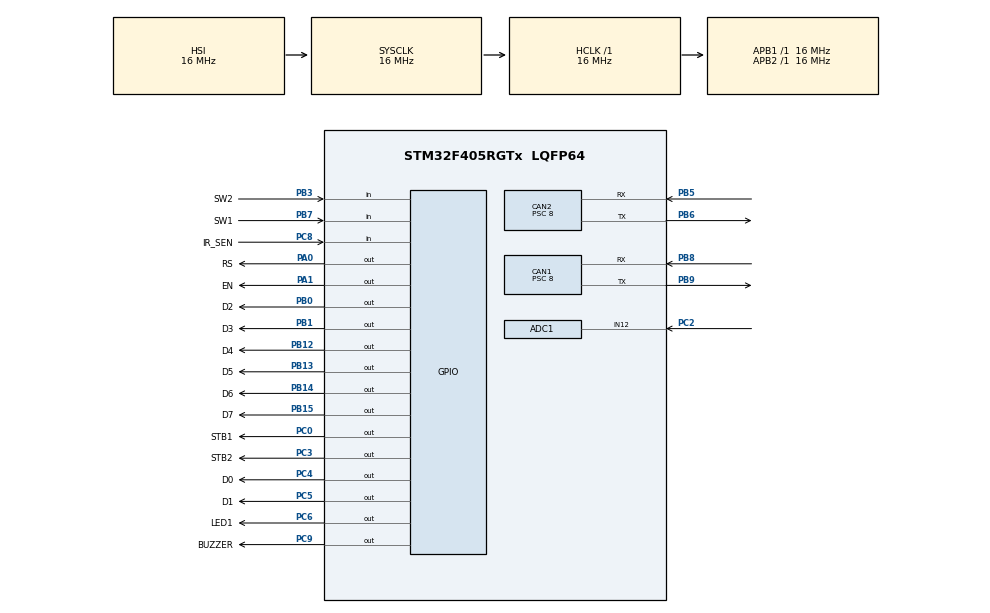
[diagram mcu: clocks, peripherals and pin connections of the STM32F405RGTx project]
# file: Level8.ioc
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ADC1.Channel-0\#ChannelRegularConversion=ADC_CHANNEL_12
ADC1.NbrOfConversionFlag=1
ADC1.Rank-0\#ChannelRegularConversion=1
ADC1.SamplingTime-0\#ChannelRegularConversion=ADC_SAMPLETIME_3CYCLES
ADC1.master=1
CAN1.BS1=CAN_BS1_9TQ
CAN1.BS2=CAN_BS2_2TQ
CAN1.CalculateBaudRate=166666
CAN1.CalculateTimeBit=6000
CAN1.CalculateTimeQuantum=500.0
CAN1.Prescaler=8
CAN2.BS1=CAN_BS1_9TQ
CAN2.BS2=CAN_BS2_2TQ
CAN2.CalculateBaudRate=166666
CAN2.CalculateTimeBit=6000
CAN2.CalculateTimeQuantum=500.0
CAN2.Prescaler=8
Mcu.Family=STM32F4
Mcu.Name=STM32F405RGTx
Mcu.Package=LQFP64
NVIC.PriorityGroup=NVIC_PRIORITYGROUP_4
PA0-WKUP.GPIO_Label=RS
PA0-WKUP.Signal=GPIO_Output
PA1.GPIO_Label=EN
PA1.Signal=GPIO_Output
PA13.Mode=Serial_Wire
PA13.Signal=SYS_JTMS-SWDIO
PA14.Mode=Serial_Wire
PA14.Signal=SYS_JTCK-SWCLK
PB0.GPIO_Label=D2
PB0.Signal=GPIO_Output
PB1.GPIO_Label=D3
PB1.Signal=GPIO_Output
PB12.GPIO_Label=D4
PB12.Signal=GPIO_Output
PB13.GPIO_Label=D5
PB13.Signal=GPIO_Output
PB14.GPIO_Label=D6
PB14.Signal=GPIO_Output
PB15.GPIO_Label=D7
PB15.Signal=GPIO_Output
PB3.GPIO_Label=SW2
PB3.Signal=GPIO_Input
PB5.Mode=CAN_Activate
PB5.Signal=CAN2_RX
PB6.Mode=CAN_Activate
PB6.Signal=CAN2_TX
PB7.GPIO_Label=SW1
PB7.Signal=GPIO_Input
PB8.Mode=CAN_Activate
PB8.Signal=CAN1_RX
PB9.Mode=CAN_Activate
PB9.Signal=CAN1_TX
PC0.GPIO_Label=STB1
PC0.Signal=GPIO_Output
PC14-OSC32_IN.Mode=LSE-External-Oscillator
PC14-OSC32_IN.Signal=RCC_OSC32_IN
PC15-OSC32_OUT.Mode=LSE-External-Oscillator
PC15-OSC32_OUT.Signal=RCC_OSC32_OUT
PC2.Signal=ADCx_IN12
PC3.GPIO_Label=STB2
PC3.Signal=GPIO_Output
PC4.GPIO_Label=D0
PC4.Signal=GPIO_Output
PC5.GPIO_Label=D1
PC5.Signal=GPIO_Output
PC6.GPIO_Label=LED1
PC6.Signal=GPIO_Output
PC8.GPIO_Label=IR_SEN
PC8.Signal=GPIO_Input
PC9.GPIO_Label=BUZZER
PC9.Signal=GPIO_Output
PH0-OSC_IN.Mode=HSE-External-Oscillator
PH0-OSC_IN.Signal=RCC_OSC_IN
PH1-OSC_OUT.Mode=HSE-External-Oscillator
PH1-OSC_OUT.Signal=RCC_OSC_OUT
ProjectManager.HeapSize=0x200
ProjectManager.StackSize=0x400
ProjectManager.TargetToolchain=STM32CubeIDE
RCC.48MHZClocksFreq_Value=48000000
RCC.AHBFreq_Value=16000000
RCC.APB1Freq_Value=16000000
RCC.APB2Freq_Value=16000000
RCC.CortexFreq_Value=16000000
RCC.HSE_VALUE=25000000
RCC.HSI_VALUE=16000000
RCC.SYSCLKFreq_VALUE=16000000
RCC.VCOOutputFreq_Value=192000000
SH.ADCx_IN12.0=ADC1_IN12,IN12
VP_TIM6_VS_ClockSourceINT.Mode=Enable_Timer
board=custom

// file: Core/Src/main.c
/* USER CODE BEGIN Header */
/**
  ******************************************************************************
  * @file           : main.c
  * @brief          : Main program body
  ******************************************************************************
  * @attention
  *
  * Copyright (c) 2024 STMicroelectronics.
  * All rights reserved.
  *
  * This software is licensed under terms that can be found in the LICENSE file
  * in the root directory of this software component.
  * If no LICENSE file comes with this software, it is provided AS-IS.
  *
  ******************************************************************************
  */
/* USER CODE END Header */
#include "main.h"

ADC_HandleTypeDef hadc1;

CAN_HandleTypeDef hcan1;
CAN_HandleTypeDef hcan2;

TIM_HandleTypeDef htim6;

/* USER CODE BEGIN PV */
CAN_TxHeaderTypeDef  p1header;
CAN_RxHeaderTypeDef  p2header;
uint32_t pTxMailbox = CAN_TX_MAILBOX0, RxFifo = CAN_RX_FIFO0;
CAN_FilterTypeDef  sFilterConfig;
uint8_t aData[8], received_data[8];
uint8_t speed = 0, count = 0, engine_status = 0, collision = 1, airbag_status = 0, seatbelt_status = 0;
uint8_t can_data, Can_id;
uint8_t SW1, SW2;
int Timercount = 0, Flag100msec = 0, Flag300msec = 0, Flag100msec1 = 0;
/* USER CODE END PV */

void SystemClock_Config(void);
static void MX_GPIO_Init(void);
static void MX_CAN1_Init(void);
static void MX_CAN2_Init(void);
static void MX_ADC1_Init(void);
static void MX_TIM6_Init(void);
/* USER CODE BEGIN PFP */
void lcd_init();
void cmd(unsigned char C);
void data(unsigned char D);
void display(unsigned char *ptr);
void numeric(unsigned char Value);
static void adc_scan();
void engine();
void seat_belt();
void airbag();
/* USER CODE END PFP */

int main(void)
{

  /* MCU Configuration--------------------------------------------------------*/

  /* Reset of all peripherals, Initializes the Flash interface and the Systick. */
  HAL_Init();

  /* Configure the system clock */
  SystemClock_Config();

  /* Initialize all configured peripherals */
  MX_GPIO_Init();
  MX_CAN1_Init();
  MX_CAN2_Init();
  MX_ADC1_Init();
  MX_TIM6_Init();

  /* Infinite loop */
  /* USER CODE BEGIN WHILE */
	lcd_init();
	HAL_Delay(200);

	// Set Output pin STB1, STB2 as LOW
	HAL_GPIO_WritePin(GPIOC, STB1_Pin, GPIO_PIN_RESET);
	HAL_GPIO_WritePin(GPIOC, STB2_Pin, GPIO_PIN_RESET);

	// CAN Tx message header configuration
	p1header.DLC = 8;
	p1header.IDE = CAN_ID_STD;
	p1header.StdId = 0x001;
	p1header.RTR = CAN_RTR_DATA;

	// CAN Filter configuration
	sFilterConfig.FilterFIFOAssignment = CAN_FILTER_FIFO0;
	sFilterConfig.FilterIdHigh = 0x00C;
	sFilterConfig.FilterIdLow = 0x00A;
	sFilterConfig.FilterMaskIdHigh = 0;
	sFilterConfig.FilterMaskIdLow = 0;
	sFilterConfig.FilterScale = CAN_FILTERSCALE_32BIT;
	sFilterConfig.FilterActivation = ENABLE;
	HAL_CAN_ConfigFilter(&hcan1, &sFilterConfig);
	HAL_CAN_ConfigFilter(&hcan2, &sFilterConfig);

	// Start CAN transmission
	HAL_CAN_Start(&hcan1);
	HAL_CAN_Start(&hcan2);
  while (1)
  {
	// System initialization
	engine();
	adc_scan();
	seat_belt();
	airbag();

	// Configure data base on engine status
	if(engine_status == 1)
	{
		aData[0] = engine_status;
		aData[1] = seatbelt_status;
		aData[2] = speed;
		aData[3] = airbag_status;
		aData[4] = 0;
		aData[5] = 0;
		aData[6] = 0;
		aData[7] = 0;
	}
	else
	{
		aData[0] = engine_status;
		aData[1] = seatbelt_status;
		aData[2] = 00;
		aData[3] = airbag_status;
		aData[4] = 0;
		aData[5] = 0;
		aData[6] = 0;
		aData[7] = 0;
	}

	// CAN1 send message and CAN2 receive
	HAL_CAN_AddTxMessage(&hcan1, &p1header, aData, &pTxMailbox);
	HAL_CAN_GetRxMessage(&hcan2, CAN_RX_FIFO0, &p2header, received_data);
	Can_id = p1header.StdId;

	// LCD display Seat belt status
	if(received_data[1] == 1)
	{
	  cmd(0x88);
	  display("SB YES");
	}
	else if(received_data[1]==0)
	{
	  cmd(0x88);
	  display("SB NO");
	}

	// LCD display engine status, airbag status and speed
	if((received_data[0] == 1))
	{
	  cmd(0x80);
	  display("ENG ON");
	  cmd(0xc0);
	  display("SPEED");
	  cmd(0xc6);
	  numeric(received_data[2]);
	  cmd(0xCA);
	  display("AB");
	  cmd(0xCD);
	  numeric(received_data[3]);

	  // Activate buzzer when collision happen
	  if ((received_data[3] == 2) && (received_data[0] == 1) && (received_data[1] == 1) && (received_data[2] >= 60))
	  {
		  HAL_GPIO_WritePin(GPIOC, BUZZER_Pin, GPIO_PIN_SET);
	  }
	  else if((received_data[3] == 1) || (received_data[3] == 0) && (received_data[0] == 1) && (received_data[1] == 1) && (received_data[2] >= 60))
	  {
		  HAL_GPIO_WritePin(GPIOC, BUZZER_Pin, GPIO_PIN_RESET);
	  }
	}
	else if((received_data[0] == 0))
	{
	  cmd(0x80);
	  display("ENG OFF");
	  cmd(0xc0);
	  display("SPEED");
	  cmd(0xc6);
	  numeric(received_data[2]);
	  cmd(0xCA);
	  display("AB");
	  cmd(0xCD);
	  numeric(received_data[3]);
	}
    /* USER CODE END WHILE */

  }
}

void SystemClock_Config(void)
{
  RCC_OscInitTypeDef RCC_OscInitStruct = {0};
  RCC_ClkInitTypeDef RCC_ClkInitStruct = {0};

  /** Configure the main internal regulator output voltage
  */
  __HAL_RCC_PWR_CLK_ENABLE();
  __HAL_PWR_VOLTAGESCALING_CONFIG(PWR_REGULATOR_VOLTAGE_SCALE1);

  /** Initializes the RCC Oscillators according to the specified parameters
  * in the RCC_OscInitTypeDef structure.
  */
  RCC_OscInitStruct.OscillatorType = RCC_OSCILLATORTYPE_HSI;
  RCC_OscInitStruct.HSIState = RCC_HSI_ON;
  RCC_OscInitStruct.HSICalibrationValue = RCC_HSICALIBRATION_DEFAULT;
  RCC_OscInitStruct.PLL.PLLState = RCC_PLL_NONE;
  if (HAL_RCC_OscConfig(&RCC_OscInitStruct) != HAL_OK)
  {
    Error_Handler();
  }

  /** Initializes the CPU, AHB and APB buses clocks
  */
  RCC_ClkInitStruct.ClockType = RCC_CLOCKTYPE_HCLK|RCC_CLOCKTYPE_SYSCLK
                              |RCC_CLOCKTYPE_PCLK1|RCC_CLOCKTYPE_PCLK2;
  RCC_ClkInitStruct.SYSCLKSource = RCC_SYSCLKSOURCE_HSI;
  RCC_ClkInitStruct.AHBCLKDivider = RCC_SYSCLK_DIV1;
  RCC_ClkInitStruct.APB1CLKDivider = RCC_HCLK_DIV1;
  RCC_ClkInitStruct.APB2CLKDivider = RCC_HCLK_DIV1;

  if (HAL_RCC_ClockConfig(&RCC_ClkInitStruct, FLASH_LATENCY_0) != HAL_OK)
  {
    Error_Handler();
  }
}

static void MX_ADC1_Init(void)
{

  ADC_ChannelConfTypeDef sConfig = {0};

  /** Configure the global features of the ADC (Clock, Resolution, Data Alignment and number of conversion)
  */
  hadc1.Instance = ADC1;
  hadc1.Init.ClockPrescaler = ADC_CLOCK_SYNC_PCLK_DIV2;
  hadc1.Init.Resolution = ADC_RESOLUTION_12B;
  hadc1.Init.ScanConvMode = DISABLE;
  hadc1.Init.ContinuousConvMode = DISABLE;
  hadc1.Init.DiscontinuousConvMode = DISABLE;
  hadc1.Init.ExternalTrigConvEdge = ADC_EXTERNALTRIGCONVEDGE_NONE;
  hadc1.Init.ExternalTrigConv = ADC_SOFTWARE_START;
  hadc1.Init.DataAlign = ADC_DATAALIGN_RIGHT;
  hadc1.Init.NbrOfConversion = 1;
  hadc1.Init.DMAContinuousRequests = DISABLE;
  hadc1.Init.EOCSelection = ADC_EOC_SINGLE_CONV;
  if (HAL_ADC_Init(&hadc1) != HAL_OK)
  {
    Error_Handler();
  }

  /** Configure for the selected ADC regular channel its corresponding rank in the sequencer and its sample time.
  */
  sConfig.Channel = ADC_CHANNEL_12;
  sConfig.Rank = 1;
  sConfig.SamplingTime = ADC_SAMPLETIME_3CYCLES;
  if (HAL_ADC_ConfigChannel(&hadc1, &sConfig) != HAL_OK)
  {
    Error_Handler();
  }

}

static void MX_CAN1_Init(void)
{

  hcan1.Instance = CAN1;
  hcan1.Init.Prescaler = 8;
  hcan1.Init.Mode = CAN_MODE_NORMAL;
  hcan1.Init.SyncJumpWidth = CAN_SJW_1TQ;
  hcan1.Init.TimeSeg1 = CAN_BS1_9TQ;
  hcan1.Init.TimeSeg2 = CAN_BS2_2TQ;
  hcan1.Init.TimeTriggeredMode = DISABLE;
  hcan1.Init.AutoBusOff = DISABLE;
  hcan1.Init.AutoWakeUp = DISABLE;
  hcan1.Init.AutoRetransmission = DISABLE;
  hcan1.Init.ReceiveFifoLocked = DISABLE;
  hcan1.Init.TransmitFifoPriority = DISABLE;
  if (HAL_CAN_Init(&hcan1) != HAL_OK)
  {
    Error_Handler();
  }

}

static void MX_CAN2_Init(void)
{

  hcan2.Instance = CAN2;
  hcan2.Init.Prescaler = 8;
  hcan2.Init.Mode = CAN_MODE_NORMAL;
  hcan2.Init.SyncJumpWidth = CAN_SJW_1TQ;
  hcan2.Init.TimeSeg1 = CAN_BS1_9TQ;
  hcan2.Init.TimeSeg2 = CAN_BS2_2TQ;
  hcan2.Init.TimeTriggeredMode = DISABLE;
  hcan2.Init.AutoBusOff = DISABLE;
  hcan2.Init.AutoWakeUp = DISABLE;
  hcan2.Init.AutoRetransmission = DISABLE;
  hcan2.Init.ReceiveFifoLocked = DISABLE;
  hcan2.Init.TransmitFifoPriority = DISABLE;
  if (HAL_CAN_Init(&hcan2) != HAL_OK)
  {
    Error_Handler();
  }

}

static void MX_TIM6_Init(void)
{

  TIM_MasterConfigTypeDef sMasterConfig = {0};

  htim6.Instance = TIM6;
  htim6.Init.Prescaler = 0;
  htim6.Init.CounterMode = TIM_COUNTERMODE_UP;
  htim6.Init.Period = 65535;
  htim6.Init.AutoReloadPreload = TIM_AUTORELOAD_PRELOAD_DISABLE;
  if (HAL_TIM_Base_Init(&htim6) != HAL_OK)
  {
    Error_Handler();
  }
  sMasterConfig.MasterOutputTrigger = TIM_TRGO_RESET;
  sMasterConfig.MasterSlaveMode = TIM_MASTERSLAVEMODE_DISABLE;
  if (HAL_TIMEx_MasterConfigSynchronization(&htim6, &sMasterConfig) != HAL_OK)
  {
    Error_Handler();
  }

}

static void MX_GPIO_Init(void)
{
  GPIO_InitTypeDef GPIO_InitStruct = {0};

  /* GPIO Ports Clock Enable */
  __HAL_RCC_GPIOC_CLK_ENABLE();
  __HAL_RCC_GPIOH_CLK_ENABLE();
  __HAL_RCC_GPIOA_CLK_ENABLE();
  __HAL_RCC_GPIOB_CLK_ENABLE();

  /*Configure GPIO pin Output Level */
  HAL_GPIO_WritePin(GPIOC, STB1_Pin|STB2_Pin|D0_Pin|D1_Pin
                          |LED1_Pin|BUZZER_Pin, GPIO_PIN_RESET);

  /*Configure GPIO pin Output Level */
  HAL_GPIO_WritePin(GPIOA, RS_Pin|EN_Pin, GPIO_PIN_RESET);

  /*Configure GPIO pin Output Level */
  HAL_GPIO_WritePin(GPIOB, D2_Pin|D3_Pin|D4_Pin|D5_Pin
                          |D6_Pin|D7_Pin, GPIO_PIN_RESET);

  /*Configure GPIO pins : STB1_Pin STB2_Pin D0_Pin D1_Pin
                           LED1_Pin BUZZER_Pin */
  GPIO_InitStruct.Pin = STB1_Pin|STB2_Pin|D0_Pin|D1_Pin
                          |LED1_Pin|BUZZER_Pin;
  GPIO_InitStruct.Mode = GPIO_MODE_OUTPUT_PP;
  GPIO_InitStruct.Pull = GPIO_NOPULL;
  GPIO_InitStruct.Speed = GPIO_SPEED_FREQ_LOW;
  HAL_GPIO_Init(GPIOC, &GPIO_InitStruct);

  /*Configure GPIO pins : RS_Pin EN_Pin */
  GPIO_InitStruct.Pin = RS_Pin|EN_Pin;
  GPIO_InitStruct.Mode = GPIO_MODE_OUTPUT_PP;
  GPIO_InitStruct.Pull = GPIO_NOPULL;
  GPIO_InitStruct.Speed = GPIO_SPEED_FREQ_LOW;
  HAL_GPIO_Init(GPIOA, &GPIO_InitStruct);

  /*Configure GPIO pins : D2_Pin D3_Pin D4_Pin D5_Pin
                           D6_Pin D7_Pin */
  GPIO_InitStruct.Pin = D2_Pin|D3_Pin|D4_Pin|D5_Pin
                          |D6_Pin|D7_Pin;
  GPIO_InitStruct.Mode = GPIO_MODE_OUTPUT_PP;
  GPIO_InitStruct.Pull = GPIO_NOPULL;
  GPIO_InitStruct.Speed = GPIO_SPEED_FREQ_LOW;
  HAL_GPIO_Init(GPIOB, &GPIO_InitStruct);

  /*Configure GPIO pin : IR_SEN_Pin */
  GPIO_InitStruct.Pin = IR_SEN_Pin;
  GPIO_InitStruct.Mode = GPIO_MODE_INPUT;
  GPIO_InitStruct.Pull = GPIO_NOPULL;
  HAL_GPIO_Init(IR_SEN_GPIO_Port, &GPIO_InitStruct);

  /*Configure GPIO pins : SW2_Pin SW1_Pin */
  GPIO_InitStruct.Pin = SW2_Pin|SW1_Pin;
  GPIO_InitStruct.Mode = GPIO_MODE_INPUT;
  GPIO_InitStruct.Pull = GPIO_NOPULL;
  HAL_GPIO_Init(GPIOB, &GPIO_InitStruct);

}

/* USER CODE BEGIN 4 */
void HAL_TIM_PeriodElapsedCallback(TIM_HandleTypeDef *htim)
{
	if(htim == &htim6)
	{
		Flag100msec = 1; // 100msec
		Flag100msec1 = 1;
		if(++Timercount > 2) //300sec
		{
			Timercount = 0;
			Flag300msec = 1;
		}
	}
}
//************************************************************************
static void adc_scan()
{
	if(!Flag100msec)
	{
		return;
	}
	Flag100msec = 0;

	HAL_ADC_Start(&hadc1);
	HAL_ADC_PollForConversion(&hadc1, 100);
	count = HAL_ADC_GetValue(&hadc1);
	speed = ((100*count)/4095);
	HAL_ADC_Stop(&hadc1);
}
//*******************************************************************
void engine()
{
	SW1 = HAL_GPIO_ReadPin(GPIOB,SW1_Pin);

	if ((!SW1 )&& (engine_status == 0))
	{
		engine_status = 1;
		HAL_GPIO_WritePin(GPIOC, LED1_Pin, GPIO_PIN_RESET);

	}
	else if ((!SW1) && (engine_status == 1))
	{
		engine_status = 0;
		HAL_GPIO_WritePin(GPIOC, LED1_Pin, GPIO_PIN_SET);
	}
}
//*************************************************************************
void seat_belt()
{
	SW2 = HAL_GPIO_ReadPin(GPIOB, SW2_Pin);
	if ((!SW2) && (seatbelt_status == 0))
	{
		seatbelt_status = 1;
	}
	else if ((!SW2) && (seatbelt_status == 1))
	{
		seatbelt_status = 0;
	}
}
//***************************************************************
void airbag()
{
	if(!Flag100msec1)
		{
			return;
		}
		Flag100msec1 = 0;
		collision = (HAL_GPIO_ReadPin(GPIOC, IR_SEN_Pin));

		if((collision == 1) && (seatbelt_status == 0) && (engine_status == 0))
		{
			airbag_status = 0;
		}
		else if((collision == 1) && (seatbelt_status == 1) && (engine_status == 1))
		{
			airbag_status = 1;
		}
		else if((collision == 0) && (seatbelt_status == 1) && (engine_status == 1) && (speed >= 60))
		{
			airbag_status = 2;
		}
}

void lcd_init()
{
	HAL_Delay(10);
	cmd(0x01);
	cmd(0x38);
	cmd(0x06);
	cmd(0x0C);
	HAL_Delay(10);
}

void cmd(unsigned char C)
{
	HAL_GPIO_WritePin(GPIOA, RS_Pin, 0);
	HAL_GPIO_WritePin(GPIOC, D0_Pin,(C&0X01));
	HAL_GPIO_WritePin(GPIOC, D1_Pin,(C&0X02));
	HAL_GPIO_WritePin(GPIOB, D2_Pin,(C&0X04));
	HAL_GPIO_WritePin(GPIOB, D3_Pin,(C&0X08));
	HAL_GPIO_WritePin(GPIOB, D4_Pin,(C&0X10));
	HAL_GPIO_WritePin(GPIOB, D5_Pin,(C&0X20));
	HAL_GPIO_WritePin(GPIOB, D6_Pin,(C&0X40));
	HAL_GPIO_WritePin(GPIOB, D7_Pin,(C&0X80));
	HAL_GPIO_WritePin(GPIOA, EN_Pin, 1);
	HAL_Delay(5);
	HAL_GPIO_WritePin(GPIOA, EN_Pin, 0);
	HAL_Delay(5);
}

void data (unsigned char D)
{
	HAL_GPIO_WritePin(GPIOA, RS_Pin, 1);
	HAL_GPIO_WritePin(GPIOC, D0_Pin,(D&0X01));
	HAL_GPIO_WritePin(GPIOC, D1_Pin,(D&0X02));
	HAL_GPIO_WritePin(GPIOB, D2_Pin,(D&0X04));
	HAL_GPIO_WritePin(GPIOB, D3_Pin,(D&0X08));
	HAL_GPIO_WritePin(GPIOB, D4_Pin,(D&0X10));
	HAL_GPIO_WritePin(GPIOB, D5_Pin,(D&0X20));
	HAL_GPIO_WritePin(GPIOB, D6_Pin,(D&0X40));
	HAL_GPIO_WritePin(GPIOB, D7_Pin,(D&0X80));
	HAL_GPIO_WritePin(GPIOA, EN_Pin, 1);
	HAL_Delay(5);
	HAL_GPIO_WritePin(GPIOA, EN_Pin, 0);
	HAL_Delay(5);
}

void display(unsigned char *ptr)
{
	while(*ptr!='\0')
	{
		data(*ptr++);
		HAL_Delay(2);
	}
}

void numeric(unsigned char Value)
{
	data(((Value%1000)/100)+0x30);
	data(((Value%100)/10)+0X30);
	data((Value%10)+0X30);
}
/* USER CODE END 4 */

void Error_Handler(void)
{
  __disable_irq();
  while (1)
  {
  }
}
